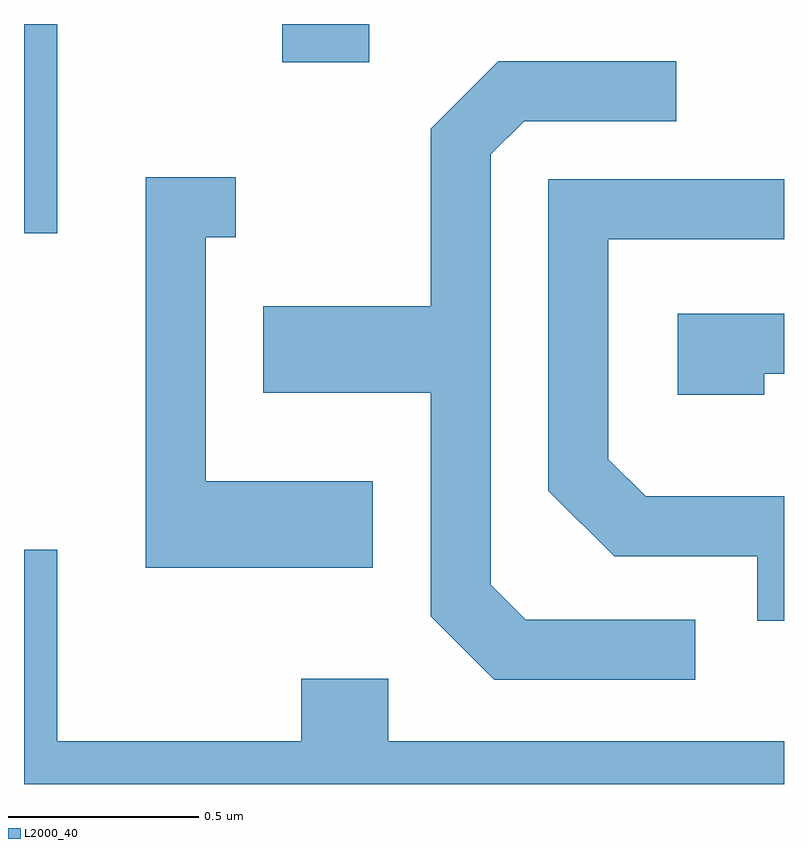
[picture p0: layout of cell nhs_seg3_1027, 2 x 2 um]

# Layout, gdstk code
import gdstk
lib = gdstk.Library(unit=1e-6, precision=1e-09)
def R(c, l, rs):  # rectangles x0, y0, x1, y1
    for r in rs: c.add(gdstk.rectangle(r[:2], r[2:], *l))
def P(c, l, *ps):  # polygons
    for p in ps: c.add(gdstk.Polygon(p, *l))
L2000_40 = (2000, 40)

nhs_seg3_1027 = lib.new_cell('nhs_seg3_1027')
R(nhs_seg3_1027, L2000_40, [(192.611,1185.341,192.699,1185.892), (193.291,1185.791,193.519,1185.892)])
P(nhs_seg3_1027, L2000_40, [(194.378,1184.324),(193.932,1184.324),(193.839,1184.417),(193.839,1185.549),(193.927,1185.636),(194.328,1185.636),(194.328,1185.794),(193.859,1185.794),(193.681,1185.617),(193.681,1185.149),(193.241,1185.149),(193.241,1184.921),(193.681,1184.921),(193.681,1184.334),(193.849,1184.166),(194.378,1184.166)],
  [(193.529,1184.689),(193.089,1184.689),(193.089,1185.331),(193.168,1185.331),(193.168,1185.489),(192.931,1185.489),(192.931,1184.461),(193.529,1184.461)],
  [(194.611,1184.649),(194.247,1184.649),(194.149,1184.747),(194.149,1185.326),(194.611,1185.326),(194.611,1185.484),(193.991,1185.484),(193.991,1184.664),(194.164,1184.491),(194.541,1184.491),(194.541,1184.321),(194.611,1184.321)],
  [(194.559,1184.971),(194.611,1184.971),(194.611,1185.129),(194.331,1185.129),(194.331,1184.916),(194.559,1184.916)],
  [(194.611,1184.004),(193.569,1184.004),(193.569,1184.169),(193.341,1184.169),(193.341,1184.004),(192.699,1184.004),(192.699,1184.509),(192.611,1184.509),(192.611,1183.892),(194.611,1183.892)])

lib.write_gds('nhs_seg3_1027.gds')
